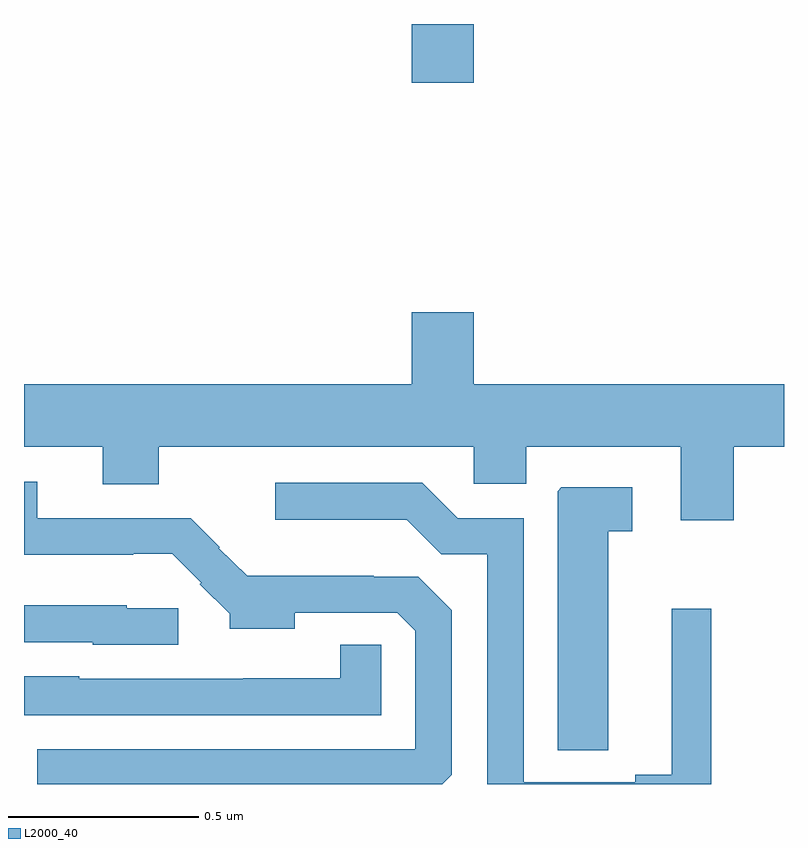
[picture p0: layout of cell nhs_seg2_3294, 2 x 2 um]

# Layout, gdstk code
import gdstk
lib = gdstk.Library(unit=1e-6, precision=1e-09)
def R(c, l, rs):  # rectangles x0, y0, x1, y1
    for r in rs: c.add(gdstk.rectangle(r[:2], r[2:], *l))
def P(c, l, *ps):  # polygons
    for p in ps: c.add(gdstk.Polygon(p, *l))
L2000_40 = (2000, 40)

nhs_seg2_3294 = lib.new_cell('nhs_seg2_3294')
R(nhs_seg2_3294, L2000_40, [(153.02,596.646,153.184,596.8)])
P(nhs_seg2_3294, L2000_40, [(153.868,595.688),(154,595.688),(154,595.852),(153.184,595.852),(153.184,596.041),(153.02,596.041),(153.02,595.852),(152,595.852),(152,595.688),(152.207,595.688),(152.207,595.589),(152.355,595.589),(152.355,595.688),(153.183,595.688),(153.183,595.59),(153.322,595.59),(153.322,595.688),(153.728,595.688),(153.728,595.494),(153.868,595.494)],
  [(153.126,594.825),(153.126,595.257),(153.037,595.346),(152.921,595.346),(152.921,595.348),(152.587,595.348),(152.513,595.421),(152.515,595.423),(152.439,595.5),(152.035,595.5),(152.035,595.596),(152,595.596),(152,595.403),(152.288,595.403),(152.288,595.406),(152.39,595.406),(152.466,595.329),(152.463,595.326),(152.542,595.248),(152.542,595.208),(152.713,595.208),(152.713,595.251),(152.982,595.251),(153.03,595.203),(153.03,594.891),(152.035,594.891),(152.035,594.8),(153.101,594.8)],
  [(153.808,595.261),(153.704,595.261),(153.704,594.824),(153.608,594.824),(153.608,594.804),(153.315,594.804),(153.315,595.5),(153.141,595.5),(153.048,595.593),(152.661,595.593),(152.661,595.496),(153.007,595.496),(153.098,595.405),(153.219,595.405),(153.219,594.8),(153.808,594.8)],
  [(153.538,595.465),(153.601,595.465),(153.601,595.581),(153.414,595.581),(153.404,595.571),(153.404,594.889),(153.538,594.889)],
  [(152.406,595.263),(152.271,595.263),(152.271,595.27),(152,595.27),(152,595.173),(152.181,595.173),(152.181,595.167),(152.406,595.167)],
  [(152.94,595.166),(152.832,595.166),(152.832,595.078),(152.577,595.078),(152.577,595.077),(152.145,595.077),(152.145,595.084),(152,595.084),(152,594.981),(152.94,594.981)])

lib.write_gds('nhs_seg2_3294.gds')
